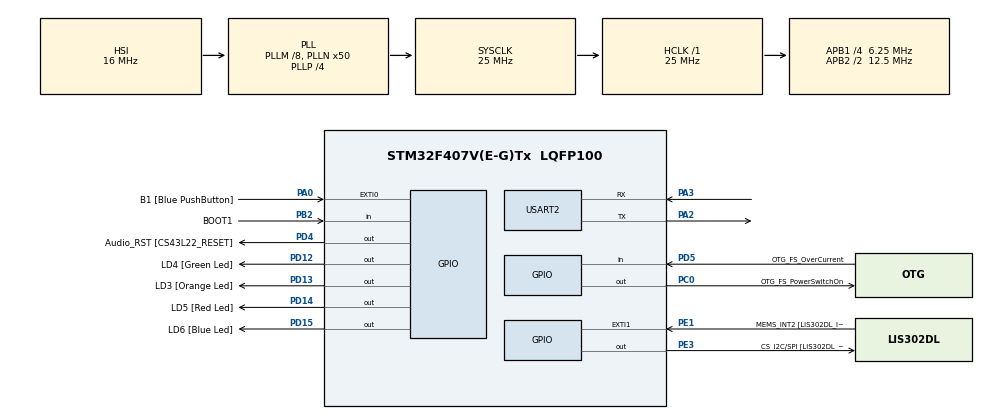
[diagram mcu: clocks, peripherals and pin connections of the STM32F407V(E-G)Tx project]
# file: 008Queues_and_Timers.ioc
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Mcu.Family=STM32F4
Mcu.Name=STM32F407V(E-G)Tx
Mcu.Package=LQFP100
NVIC.PriorityGroup=NVIC_PRIORITYGROUP_4
NVIC.TIM6_DAC_IRQn=true\:0\:0\:false\:false\:true\:false\:true\:true
NVIC.TimeBase=TIM6_DAC_IRQn
NVIC.TimeBaseIP=TIM6
NVIC.USART2_IRQn=true\:6\:0\:true\:false\:true\:true\:true\:true
PA0-WKUP.GPIO_Label=B1 [Blue PushButton]
PA0-WKUP.Signal=GPXTI0
PA14.GPIO_Label=SWCLK
PA14.Signal=SYS_JTCK-SWCLK
PA2.Mode=Asynchronous
PA2.Signal=USART2_TX
PA3.Mode=Asynchronous
PA3.Signal=USART2_RX
PA4.GPIO_Label=I2S3_WS [CS43L22_LRCK]
PA4.GPIO_Mode=GPIO_MODE_AF_PP
PA4.GPIO_PuPd=GPIO_NOPULL
PA4.GPIO_Speed=GPIO_SPEED_FREQ_LOW
PA4.Signal=I2S3_WS
PA5.GPIO_Label=SPI1_SCK [LIS302DL_SCL/SPC]
PA5.GPIO_Mode=GPIO_MODE_AF_PP
PA5.GPIO_PuPd=GPIO_NOPULL
PA5.GPIO_Speed=GPIO_SPEED_FREQ_LOW
PA5.Signal=SPI1_SCK
PA6.GPIO_Label=SPI1_MISO [LIS302DL_SDO]
PA6.GPIO_Mode=GPIO_MODE_AF_PP
PA6.GPIO_PuPd=GPIO_NOPULL
PA6.GPIO_Speed=GPIO_SPEED_FREQ_LOW
PA6.Signal=SPI1_MISO
PA7.GPIO_Label=SPI1_MOSI [LIS302DL_SDA/SDI/SDO]
PA7.GPIO_Mode=GPIO_MODE_AF_PP
PA7.GPIO_PuPd=GPIO_NOPULL
PA7.GPIO_Speed=GPIO_SPEED_FREQ_LOW
PA7.Signal=SPI1_MOSI
PB10.GPIO_Label=CLK_IN [MP45DT02_CLK]
PB10.GPIO_Mode=GPIO_MODE_AF_PP
PB10.GPIO_PuPd=GPIO_NOPULL
PB10.GPIO_Speed=GPIO_SPEED_FREQ_LOW
PB10.Signal=I2S2_CK
PB2.GPIO_Label=BOOT1
PB2.GPIO_Mode=GPIO_MODE_INPUT
PB2.GPIO_PuPd=GPIO_NOPULL
PB2.Signal=GPIO_Input
PB3.GPIO_Label=SWO
PB3.Signal=SYS_JTDO-SWO
PB6.GPIO_Label=Audio_SCL [CS43L22_SCL]
PB6.GPIO_Mode=GPIO_MODE_AF_OD
PB6.GPIO_PuPd=GPIO_NOPULL
PB6.GPIO_Speed=GPIO_SPEED_FREQ_LOW
PB6.Signal=I2C1_SCL
PB9.GPIO_Label=Audio_SDA [CS43L22_SDA]
PB9.GPIO_Mode=GPIO_MODE_AF_OD
PB9.GPIO_PuPd=GPIO_NOPULL
PB9.GPIO_Speed=GPIO_SPEED_FREQ_LOW
PB9.Signal=I2C1_SDA
PC0.GPIO_Label=OTG_FS_PowerSwitchOn
PC0.GPIO_PuPd=GPIO_NOPULL
PC0.GPIO_Speed=GPIO_SPEED_FREQ_LOW
PC0.PinState=GPIO_PIN_SET
PC0.Signal=GPIO_Output
PC10.GPIO_Label=I2S3_SCK [CS43L22_SCLK]
PC10.GPIO_Mode=GPIO_MODE_AF_PP
PC10.GPIO_PuPd=GPIO_NOPULL
PC10.GPIO_Speed=GPIO_SPEED_FREQ_LOW
PC10.Signal=I2S3_CK
PC12.GPIO_Label=I2S3_SD [CS43L22_SDIN]
PC12.GPIO_Mode=GPIO_MODE_AF_PP
PC12.GPIO_PuPd=GPIO_NOPULL
PC12.GPIO_Speed=GPIO_SPEED_FREQ_LOW
PC12.Signal=I2S3_SD
PC14-OSC32_IN.GPIO_Label=PC14-OSC32_IN
PC14-OSC32_IN.Mode=LSE-External-Oscillator
PC14-OSC32_IN.Signal=RCC_OSC32_IN
PC15-OSC32_OUT.GPIO_Label=PC15-OSC32_OUT
PC15-OSC32_OUT.Mode=LSE-External-Oscillator
PC15-OSC32_OUT.Signal=RCC_OSC32_OUT
PC3.GPIO_Label=PDM_OUT [MP45DT02_DOUT]
PC3.GPIO_Mode=GPIO_MODE_AF_PP
PC3.GPIO_PuPd=GPIO_NOPULL
PC3.GPIO_Speed=GPIO_SPEED_FREQ_LOW
PC3.Signal=I2S2_SD
PD12.GPIO_Label=LD4 [Green Led]
PD12.GPIO_PuPd=GPIO_NOPULL
PD12.GPIO_Speed=GPIO_SPEED_FREQ_LOW
PD12.Signal=GPIO_Output
PD13.GPIO_Label=LD3 [Orange Led]
PD13.GPIO_PuPd=GPIO_NOPULL
PD13.GPIO_Speed=GPIO_SPEED_FREQ_LOW
PD13.Signal=GPIO_Output
PD14.GPIO_Label=LD5 [Red Led]
PD14.GPIO_PuPd=GPIO_NOPULL
PD14.GPIO_Speed=GPIO_SPEED_FREQ_LOW
PD14.Signal=GPIO_Output
PD15.GPIO_Label=LD6 [Blue Led]
PD15.GPIO_PuPd=GPIO_NOPULL
PD15.GPIO_Speed=GPIO_SPEED_FREQ_LOW
PD15.Signal=GPIO_Output
PD4.GPIO_Label=Audio_RST [CS43L22_RESET]
PD4.GPIO_PuPd=GPIO_NOPULL
PD4.GPIO_Speed=GPIO_SPEED_FREQ_LOW
PD4.Signal=GPIO_Output
PD5.GPIO_Label=OTG_FS_OverCurrent
PD5.GPIO_Mode=GPIO_MODE_INPUT
PD5.GPIO_PuPd=GPIO_NOPULL
PD5.Signal=GPIO_Input
PE1.GPIO_Label=MEMS_INT2 [LIS302DL_INT2]
PE1.GPIO_ModeDefaultEXTI=GPIO_MODE_EVT_RISING
PE1.GPIO_PuPd=GPIO_NOPULL
PE1.Signal=GPXTI1
PE3.GPIO_Label=CS_I2C/SPI [LIS302DL_CS_I2C/SPI]
PE3.GPIO_PuPd=GPIO_NOPULL
PE3.GPIO_Speed=GPIO_SPEED_FREQ_LOW
PE3.Signal=GPIO_Output
PH0-OSC_IN.GPIO_Label=PH0-OSC_IN
PH0-OSC_IN.Mode=HSE-External-Oscillator
PH0-OSC_IN.Signal=RCC_OSC_IN
PH1-OSC_OUT.GPIO_Label=PH1-OSC_OUT
PH1-OSC_OUT.Mode=HSE-External-Oscillator
PH1-OSC_OUT.Signal=RCC_OSC_OUT
ProjectManager.HeapSize=0x200
ProjectManager.StackSize=0x400
ProjectManager.TargetToolchain=STM32CubeIDE
RCC.48MHZClocksFreq_Value=14285714.285714285
RCC.AHBFreq_Value=25000000
RCC.APB1CLKDivider=RCC_HCLK_DIV4
RCC.APB1Freq_Value=6250000
RCC.APB1TimFreq_Value=12500000
RCC.APB2CLKDivider=RCC_HCLK_DIV2
RCC.APB2Freq_Value=12500000
RCC.APB2TimFreq_Value=25000000
RCC.CortexFreq_Value=25000000
RCC.HCLKFreq_Value=25000000
RCC.HSE_VALUE=8000000
RCC.HSI_VALUE=16000000
RCC.PLLM=8
RCC.PLLN=50
RCC.PLLP=RCC_PLLP_DIV4
RCC.PLLQ=7
RCC.SYSCLKFreq_VALUE=25000000
RCC.SYSCLKSource=RCC_SYSCLKSOURCE_PLLCLK
RCC.VCOOutputFreq_Value=100000000
RTC.HourFormat=RTC_HOURFORMAT_12
USART2.VirtualMode=VM_ASYNC
VP_RTC_VS_RTC_Activate.Mode=RTC_Enabled
VP_SYS_VS_tim6.Mode=TIM6
board=STM32F407G-DISC1

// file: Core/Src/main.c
/* USER CODE BEGIN Header */
/**
  ******************************************************************************
  * @file           : main.c
  * @brief          : Main program body
  ******************************************************************************
  * @attention
  *
  * Copyright (c) 2022 STMicroelectronics.
  * All rights reserved.
  *
  * This software is licensed under terms that can be found in the LICENSE file
  * in the root directory of this software component.
  * If no LICENSE file comes with this software, it is provided AS-IS.
  *
  ******************************************************************************
  */
/* USER CODE END Header */
#include "main.h"
#include "FreeRTOS.h"

 RTC_HandleTypeDef hrtc;

UART_HandleTypeDef huart2;

/* USER CODE BEGIN PV */
xTaskHandle handle_cmd_task;
xTaskHandle handle_menu_task;
xTaskHandle handle_print_task;
xTaskHandle handle_led_task;
xTaskHandle handle_rtc_task;

QueueHandle_t q_data;
QueueHandle_t q_print;
//software timer handles
TimerHandle_t handle_led_timer[4];
TimerHandle_t rtc_timer;
volatile uint8_t user_data;

//state variable
state_t curr_state = sMainMenu;
/* USER CODE END PV */

void SystemClock_Config(void);
static void MX_GPIO_Init(void);
static void MX_RTC_Init(void);
static void MX_USART2_UART_Init(void);
/* USER CODE BEGIN PFP */
void led_effect_callback(TimerHandle_t xTimer);
void rtc_report_callback(TimerHandle_t xTimer);
/* USER CODE END PFP */

int main(void)
{
  /* USER CODE BEGIN 1 */
	BaseType_t status;
  /* USER CODE END 1 */

  /* MCU Configuration--------------------------------------------------------*/

  /* Reset of all peripherals, Initializes the Flash interface and the Systick. */
  HAL_Init();

  /* Configure the system clock */
  SystemClock_Config();

  /* Initialize all configured peripherals */
  MX_GPIO_Init();
  MX_RTC_Init();
  MX_USART2_UART_Init();
  /* USER CODE BEGIN 2 */
  status = xTaskCreate(menu_task, "menu_task", 250, NULL, 2, &handle_menu_task);

  configASSERT(status == pdPASS);

  status = xTaskCreate(cmd_handler_task, "cmd_task", 250, NULL, 2, &handle_cmd_task);

  configASSERT(status == pdPASS);

  status = xTaskCreate(print_task, "print_task", 250, NULL, 2, &handle_print_task);

  configASSERT(status == pdPASS);

  status = xTaskCreate(led_task, "led_task", 250, NULL, 2, &handle_led_task);

  configASSERT(status == pdPASS);

  status = xTaskCreate(rtc_task, "rtc_task", 250, NULL, 2, &handle_rtc_task);

  configASSERT(status == pdPASS);

  q_data = xQueueCreate(10, sizeof(char));

  configASSERT(q_data != NULL);

  q_print = xQueueCreate(10, sizeof(size_t));

  configASSERT(q_data != NULL);

  //create software timers for LED effects

  for(int i = 0; i < 4; ++i)
	  handle_led_timer[i] = xTimerCreate("led_timer", pdMS_TO_TICKS(500), pdTRUE, (void*)(i + 1), led_effect_callback );

  HAL_UART_Receive_IT(&huart2, (uint8_t*)&user_data , 1);

  vTaskStartScheduler();
  /* USER CODE END 2 */

  /* Infinite loop */
  while (1)
  {

  }
}

void SystemClock_Config(void)
{
  RCC_OscInitTypeDef RCC_OscInitStruct = {0};
  RCC_ClkInitTypeDef RCC_ClkInitStruct = {0};

  /** Configure the main internal regulator output voltage
  */
  __HAL_RCC_PWR_CLK_ENABLE();
  __HAL_PWR_VOLTAGESCALING_CONFIG(PWR_REGULATOR_VOLTAGE_SCALE1);

  /** Initializes the RCC Oscillators according to the specified parameters
  * in the RCC_OscInitTypeDef structure.
  */
  RCC_OscInitStruct.OscillatorType = RCC_OSCILLATORTYPE_HSI|RCC_OSCILLATORTYPE_LSI;
  RCC_OscInitStruct.HSIState = RCC_HSI_ON;
  RCC_OscInitStruct.HSICalibrationValue = RCC_HSICALIBRATION_DEFAULT;
  RCC_OscInitStruct.LSIState = RCC_LSI_ON;
  RCC_OscInitStruct.PLL.PLLState = RCC_PLL_ON;
  RCC_OscInitStruct.PLL.PLLSource = RCC_PLLSOURCE_HSI;
  RCC_OscInitStruct.PLL.PLLM = 8;
  RCC_OscInitStruct.PLL.PLLN = 50;
  RCC_OscInitStruct.PLL.PLLP = RCC_PLLP_DIV4;
  RCC_OscInitStruct.PLL.PLLQ = 7;
  if (HAL_RCC_OscConfig(&RCC_OscInitStruct) != HAL_OK)
  {
    Error_Handler();
  }

  /** Initializes the CPU, AHB and APB buses clocks
  */
  RCC_ClkInitStruct.ClockType = RCC_CLOCKTYPE_HCLK|RCC_CLOCKTYPE_SYSCLK
                              |RCC_CLOCKTYPE_PCLK1|RCC_CLOCKTYPE_PCLK2;
  RCC_ClkInitStruct.SYSCLKSource = RCC_SYSCLKSOURCE_PLLCLK;
  RCC_ClkInitStruct.AHBCLKDivider = RCC_SYSCLK_DIV1;
  RCC_ClkInitStruct.APB1CLKDivider = RCC_HCLK_DIV4;
  RCC_ClkInitStruct.APB2CLKDivider = RCC_HCLK_DIV2;

  if (HAL_RCC_ClockConfig(&RCC_ClkInitStruct, FLASH_LATENCY_0) != HAL_OK)
  {
    Error_Handler();
  }
}

static void MX_RTC_Init(void)
{

  /** Initialize RTC Only
  */
  hrtc.Instance = RTC;
  hrtc.Init.HourFormat = RTC_HOURFORMAT_12;
  hrtc.Init.AsynchPrediv = 127;
  hrtc.Init.SynchPrediv = 255;
  hrtc.Init.OutPut = RTC_OUTPUT_DISABLE;
  hrtc.Init.OutPutPolarity = RTC_OUTPUT_POLARITY_HIGH;
  hrtc.Init.OutPutType = RTC_OUTPUT_TYPE_OPENDRAIN;
  if (HAL_RTC_Init(&hrtc) != HAL_OK)
  {
    Error_Handler();
  }

}

static void MX_USART2_UART_Init(void)
{

  huart2.Instance = USART2;
  huart2.Init.BaudRate = 115200;
  huart2.Init.WordLength = UART_WORDLENGTH_8B;
  huart2.Init.StopBits = UART_STOPBITS_1;
  huart2.Init.Parity = UART_PARITY_NONE;
  huart2.Init.Mode = UART_MODE_TX_RX;
  huart2.Init.HwFlowCtl = UART_HWCONTROL_NONE;
  huart2.Init.OverSampling = UART_OVERSAMPLING_16;
  if (HAL_UART_Init(&huart2) != HAL_OK)
  {
    Error_Handler();
  }

}

static void MX_GPIO_Init(void)
{
  GPIO_InitTypeDef GPIO_InitStruct = {0};

  /* GPIO Ports Clock Enable */
  __HAL_RCC_GPIOE_CLK_ENABLE();
  __HAL_RCC_GPIOC_CLK_ENABLE();
  __HAL_RCC_GPIOH_CLK_ENABLE();
  __HAL_RCC_GPIOA_CLK_ENABLE();
  __HAL_RCC_GPIOB_CLK_ENABLE();
  __HAL_RCC_GPIOD_CLK_ENABLE();

  /*Configure GPIO pin Output Level */
  HAL_GPIO_WritePin(CS_I2C_SPI_GPIO_Port, CS_I2C_SPI_Pin, GPIO_PIN_RESET);

  /*Configure GPIO pin Output Level */
  HAL_GPIO_WritePin(OTG_FS_PowerSwitchOn_GPIO_Port, OTG_FS_PowerSwitchOn_Pin, GPIO_PIN_SET);

  /*Configure GPIO pin Output Level */
  HAL_GPIO_WritePin(GPIOD, LD4_Pin|LD3_Pin|LD5_Pin|LD6_Pin
                          |Audio_RST_Pin, GPIO_PIN_RESET);

  /*Configure GPIO pin : CS_I2C_SPI_Pin */
  GPIO_InitStruct.Pin = CS_I2C_SPI_Pin;
  GPIO_InitStruct.Mode = GPIO_MODE_OUTPUT_PP;
  GPIO_InitStruct.Pull = GPIO_NOPULL;
  GPIO_InitStruct.Speed = GPIO_SPEED_FREQ_LOW;
  HAL_GPIO_Init(CS_I2C_SPI_GPIO_Port, &GPIO_InitStruct);

  /*Configure GPIO pin : OTG_FS_PowerSwitchOn_Pin */
  GPIO_InitStruct.Pin = OTG_FS_PowerSwitchOn_Pin;
  GPIO_InitStruct.Mode = GPIO_MODE_OUTPUT_PP;
  GPIO_InitStruct.Pull = GPIO_NOPULL;
  GPIO_InitStruct.Speed = GPIO_SPEED_FREQ_LOW;
  HAL_GPIO_Init(OTG_FS_PowerSwitchOn_GPIO_Port, &GPIO_InitStruct);

  /*Configure GPIO pin : PDM_OUT_Pin */
  GPIO_InitStruct.Pin = PDM_OUT_Pin;
  GPIO_InitStruct.Mode = GPIO_MODE_AF_PP;
  GPIO_InitStruct.Pull = GPIO_NOPULL;
  GPIO_InitStruct.Speed = GPIO_SPEED_FREQ_LOW;
  GPIO_InitStruct.Alternate = GPIO_AF5_SPI2;
  HAL_GPIO_Init(PDM_OUT_GPIO_Port, &GPIO_InitStruct);

  /*Configure GPIO pin : B1_Pin */
  GPIO_InitStruct.Pin = B1_Pin;
  GPIO_InitStruct.Mode = GPIO_MODE_IT_RISING;
  GPIO_InitStruct.Pull = GPIO_NOPULL;
  HAL_GPIO_Init(B1_GPIO_Port, &GPIO_InitStruct);

  /*Configure GPIO pin : I2S3_WS_Pin */
  GPIO_InitStruct.Pin = I2S3_WS_Pin;
  GPIO_InitStruct.Mode = GPIO_MODE_AF_PP;
  GPIO_InitStruct.Pull = GPIO_NOPULL;
  GPIO_InitStruct.Speed = GPIO_SPEED_FREQ_LOW;
  GPIO_InitStruct.Alternate = GPIO_AF6_SPI3;
  HAL_GPIO_Init(I2S3_WS_GPIO_Port, &GPIO_InitStruct);

  /*Configure GPIO pins : SPI1_SCK_Pin SPI1_MISO_Pin SPI1_MOSI_Pin */
  GPIO_InitStruct.Pin = SPI1_SCK_Pin|SPI1_MISO_Pin|SPI1_MOSI_Pin;
  GPIO_InitStruct.Mode = GPIO_MODE_AF_PP;
  GPIO_InitStruct.Pull = GPIO_NOPULL;
  GPIO_InitStruct.Speed = GPIO_SPEED_FREQ_LOW;
  GPIO_InitStruct.Alternate = GPIO_AF5_SPI1;
  HAL_GPIO_Init(GPIOA, &GPIO_InitStruct);

  /*Configure GPIO pin : BOOT1_Pin */
  GPIO_InitStruct.Pin = BOOT1_Pin;
  GPIO_InitStruct.Mode = GPIO_MODE_INPUT;
  GPIO_InitStruct.Pull = GPIO_NOPULL;
  HAL_GPIO_Init(BOOT1_GPIO_Port, &GPIO_InitStruct);

  /*Configure GPIO pin : CLK_IN_Pin */
  GPIO_InitStruct.Pin = CLK_IN_Pin;
  GPIO_InitStruct.Mode = GPIO_MODE_AF_PP;
  GPIO_InitStruct.Pull = GPIO_NOPULL;
  GPIO_InitStruct.Speed = GPIO_SPEED_FREQ_LOW;
  GPIO_InitStruct.Alternate = GPIO_AF5_SPI2;
  HAL_GPIO_Init(CLK_IN_GPIO_Port, &GPIO_InitStruct);

  /*Configure GPIO pins : LD4_Pin LD3_Pin LD5_Pin LD6_Pin
                           Audio_RST_Pin */
  GPIO_InitStruct.Pin = LD4_Pin|LD3_Pin|LD5_Pin|LD6_Pin
                          |Audio_RST_Pin;
  GPIO_InitStruct.Mode = GPIO_MODE_OUTPUT_PP;
  GPIO_InitStruct.Pull = GPIO_NOPULL;
  GPIO_InitStruct.Speed = GPIO_SPEED_FREQ_LOW;
  HAL_GPIO_Init(GPIOD, &GPIO_InitStruct);

  /*Configure GPIO pins : I2S3_SCK_Pin I2S3_SD_Pin */
  GPIO_InitStruct.Pin = I2S3_SCK_Pin|I2S3_SD_Pin;
  GPIO_InitStruct.Mode = GPIO_MODE_AF_PP;
  GPIO_InitStruct.Pull = GPIO_NOPULL;
  GPIO_InitStruct.Speed = GPIO_SPEED_FREQ_LOW;
  GPIO_InitStruct.Alternate = GPIO_AF6_SPI3;
  HAL_GPIO_Init(GPIOC, &GPIO_InitStruct);

  /*Configure GPIO pin : OTG_FS_OverCurrent_Pin */
  GPIO_InitStruct.Pin = OTG_FS_OverCurrent_Pin;
  GPIO_InitStruct.Mode = GPIO_MODE_INPUT;
  GPIO_InitStruct.Pull = GPIO_NOPULL;
  HAL_GPIO_Init(OTG_FS_OverCurrent_GPIO_Port, &GPIO_InitStruct);

  /*Configure GPIO pins : Audio_SCL_Pin Audio_SDA_Pin */
  GPIO_InitStruct.Pin = Audio_SCL_Pin|Audio_SDA_Pin;
  GPIO_InitStruct.Mode = GPIO_MODE_AF_OD;
  GPIO_InitStruct.Pull = GPIO_NOPULL;
  GPIO_InitStruct.Speed = GPIO_SPEED_FREQ_LOW;
  GPIO_InitStruct.Alternate = GPIO_AF4_I2C1;
  HAL_GPIO_Init(GPIOB, &GPIO_InitStruct);

  /*Configure GPIO pin : MEMS_INT2_Pin */
  GPIO_InitStruct.Pin = MEMS_INT2_Pin;
  GPIO_InitStruct.Mode = GPIO_MODE_EVT_RISING;
  GPIO_InitStruct.Pull = GPIO_NOPULL;
  HAL_GPIO_Init(MEMS_INT2_GPIO_Port, &GPIO_InitStruct);

}

/* USER CODE BEGIN 4 */
void HAL_UART_RxCpltCallback(UART_HandleTypeDef *huart)
{
	uint8_t dummy;

	if(! xQueueIsQueueFullFromISR(q_data))/*check : is queue full ? */
	{
		/*Queue is not full */
		xQueueSendFromISR(q_data, (void*)&user_data,NULL); /* Enqueue data byte */

	}else{
		/*Queue is full */

		if(user_data == '\n')/* check, is user_data '\n'? */
		{
			/* make sure that last data byte of the queue is '\n' */
			xQueueReceiveFromISR(q_data, (void*)&dummy, NULL);
			xQueueSendFromISR(q_data, (void*)&user_data, NULL);
		}
	}

	/* send notification to command handling task if user_data = '\n' */
	if(user_data == '\n'){
		xTaskNotifyFromISR(handle_cmd_task, 0, eNoAction, NULL);
	}

	/*  Enable UART data byte reception again in IT mode */
	HAL_UART_Receive_IT(&huart2, (uint8_t*)&user_data, 1);

}

void led_effect_callback(TimerHandle_t xTimer)
{
	int id;
	id = (uint32_t) pvTimerGetTimerID( xTimer );

	switch(id)
	{
	case 1:
		LED_effect1();
		break;
	case 2:
		LED_effect2();
		break;
	case 3:
		LED_effect3();
		break;
	case 4:
		LED_effect4();
		break;
	}

}

void rtc_report_callback(TimerHandle_t xTimer)
{
	show_time_date_itm();
}
/* USER CODE END 4 */

void HAL_TIM_PeriodElapsedCallback(TIM_HandleTypeDef *htim)
{
  if (htim->Instance == TIM6) {
    HAL_IncTick();
  }
}

void Error_Handler(void)
{
  __disable_irq();
  while (1)
  {
  }
}
